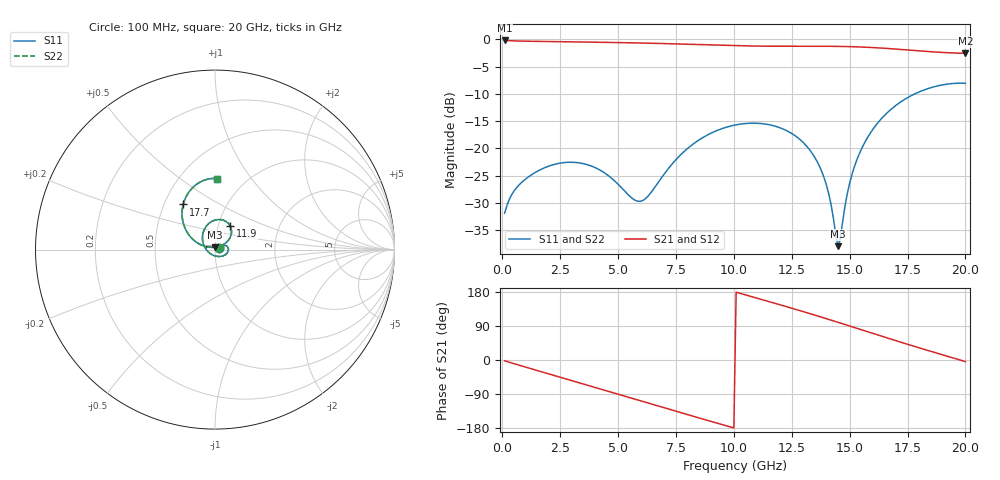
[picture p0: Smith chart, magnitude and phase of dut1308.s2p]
! Touchstone file exported from HFSS 2026.1.0
!  File:  C:/ffzhzh/LocalFiles/Ansys_Project_Files/temp_train_TSV_RDL_1308_1783334880_38704.aedt
!  Generated:  07:00:18 PM Jul  6, 2026
!  Design:  TSV_RDL
!  Project:  temp_train_TSV_RDL_1308_1783334880_38704
! Variables:
!  h_bsmrdl = 3.77um
!  h_ox = 20um
!  h_rdl = 5um
!  h_sub = 63.09um
!  h_tmrdl = 4.89um
!  h_tsv = 63.09um
!  h_via = 3um
!  l_bsmrdl = 994.44um
!  l_sub = 5519.69um
!  l_tmrdl = 502.78um
!  m_sub = 200um
!  pitch = 31.54um
!  r_tsv = 5.19um
!  s_tmrdl = 10um
!  w_bsmrdl = 29.68um
!  w_sub = 500um
!  w_tmrdl = 12.07um
!  x_tsv_center1 = 508.815um
!  x_tsv_center2 = 1532.935um
!  x_tsv_center3 = 2047.785um
!  x_tsv_center4 = 3071.905um
!  x_tsv_center5 = 3586.755um
!  x_tsv_center6 = 4610.875um
# GHz S MA R 50.000000
! Terminal data exported
! Port[1] = TM_RDL1_1_T1
! Port[2] = TM_RDL5_1_T1
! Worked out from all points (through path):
!   200 points, 100 MHz to 20 GHz, reference 50 ohm
!   highest |S21| = -0.22 dB at 100 MHz (marker M1); lowest = -2.6 dB at 20 GHz (marker M2)
!   group delay of S21, straight-line fit = 50.4 ps
!   lowest |S11| = -37.9 dB at 14.5 GHz (marker M3), VSWR 1.03, Z = 50 + j1.27 ohm
!   |S11| at or under -10 dB: start of sweep to 17.81 GHz
!   |S22| runs from -37.8 to -8.0 dB; largest |S21 - S12| = 1.6e-14
!   S11 on the Smith chart (normalised r, x): 100 MHz: 1.05, +0.01; 11.9 GHz: 1.14, +0.31; 17.7 GHz: 0.62, +0.35; 20 GHz: 0.74, +0.69
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0.1  0.02553 14.4  0.9755 -2.1  0.9755 -2.1  0.02553 14.4
! Gamma 0 0 0 0
! Port Impedance 50 0 50 0
0.5  0.04057 25.6  0.9665 -9.6  0.9665 -9.6  0.04057 25.6
1.3  0.05812 22.8  0.9582 -24.0  0.9582 -24.0  0.05811 22.8
2.4  0.0727 10.1  0.9508 -43.7  0.9508 -43.7  0.07267 10.1
3.5  0.07261 -10.0  0.9436 -63.4  0.9436 -63.4  0.07255 -9.9
4.7  0.05384 -42.6  0.9353 -84.9  0.9353 -84.9  0.05371 -42.5
5.8  0.0331 -106.9  0.9262 -104.7  0.9262 -104.7  0.03288 -107.0
6.2  0.03494 -142.8  0.9223 -111.9  0.9223 -111.9  0.03476 -143.0
6.8  0.05116 176.6  0.9155 -122.7  0.9155 -122.7  0.05106 176.3
8.3  0.1121 126.9  0.8957 -149.5  0.8957 -149.5  0.1121 126.8
10.1  0.1646 89.7  0.8733 179.0  0.8733 179.0  0.1647 89.6
11.9  0.1572 57.8  0.8633 147.4  0.8633 147.4  0.1573 57.8
13.4  0.08915 34.6  0.8635 120.2  0.8635 120.2  0.08929 34.5
14  0.04607 31.4  0.8629 109.0  0.8629 109.0  0.04622 31.4
14.5  0.01274 90.2  0.8608 99.5  0.8608 99.5  0.01286 89.6
14.6  0.01491 126.1  0.8601 97.5  0.8601 97.5  0.01494 125.4
14.9  0.03857 159.5  0.8576 91.7  0.8576 91.7  0.0385 159.2
15.3  0.07742 161.8  0.8527 83.9  0.8527 83.9  0.07732 161.6
15.9  0.1389 154.8  0.8421 72.2  0.8421 72.2  0.1388 154.6
16.7  0.2198 142.0  0.8222 56.7  0.8222 56.7  0.2197 141.8
17.7  0.3077 125.2  0.7923 37.7  0.7923 37.7  0.3076 125.1
20  0.3955 88.8  0.7447 -4.2  0.7447 -4.2  0.3954 88.6
